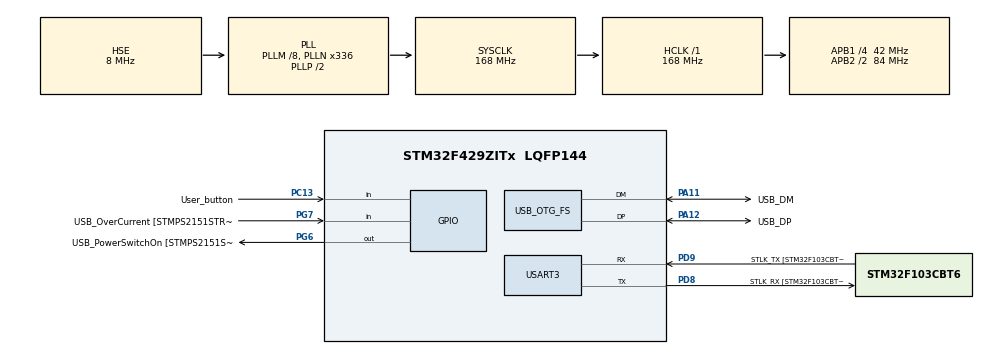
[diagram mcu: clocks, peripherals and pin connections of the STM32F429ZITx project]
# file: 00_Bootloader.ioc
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Mcu.Family=STM32F4
Mcu.Name=STM32F429ZITx
Mcu.Package=LQFP144
NVIC.OTG_FS_IRQn=true\:0\:0\:false\:false\:true\:false\:true
NVIC.PriorityGroup=NVIC_PRIORITYGROUP_4
NVIC.TIM2_IRQn=true\:0\:0\:false\:false\:true\:true\:true
PA10.GPIO_Label=USB_ID
PA10.Signal=USB_OTG_FS_ID
PA11.GPIO_Label=USB_DM
PA11.Mode=Host_Only
PA11.Signal=USB_OTG_FS_DM
PA12.GPIO_Label=USB_DP
PA12.Mode=Host_Only
PA12.Signal=USB_OTG_FS_DP
PA13.GPIO_Label=TMS
PA13.Mode=Serial_Wire
PA13.Signal=SYS_JTMS-SWDIO
PA14.GPIO_Label=TCK
PA14.Mode=Serial_Wire
PA14.Signal=SYS_JTCK-SWCLK
PA8.GPIO_Label=USB_SOF [TP1]
PA8.Signal=USB_OTG_FS_SOF
PA9.GPIO_Label=USB_VBUS
PA9.Signal=USB_OTG_FS_VBUS
PC13.GPIO_Label=User_button
PC13.Signal=GPIO_Input
PC14/OSC32_IN.Mode=LSE-External-Oscillator
PC14/OSC32_IN.Signal=RCC_OSC32_IN
PC15/OSC32_OUT.Mode=LSE-External-Oscillator
PC15/OSC32_OUT.Signal=RCC_OSC32_OUT
PD8.GPIO_Label=STLK_RX [STM32F103CBT6_PA3]
PD8.Mode=Asynchronous
PD8.Signal=USART3_TX
PD9.GPIO_Label=STLK_TX [STM32F103CBT6_PA2]
PD9.Mode=Asynchronous
PD9.Signal=USART3_RX
PG6.GPIO_Label=USB_PowerSwitchOn [STMPS2151STR_EN]
PG6.Signal=GPIO_Output
PG7.GPIO_Label=USB_OverCurrent [STMPS2151STR_FAULT]
PG7.Signal=GPIO_Input
PH0/OSC_IN.GPIO_Label=MCO [STM32F103CBT6_PA8]
PH0/OSC_IN.Mode=HSE-External-Clock-Source
PH0/OSC_IN.Signal=RCC_OSC_IN
PH1/OSC_OUT.Mode=HSE-External-Clock-Source
PH1/OSC_OUT.Signal=RCC_OSC_OUT
ProjectManager.HeapSize=0x2000
ProjectManager.StackSize=0x2000
ProjectManager.TargetToolchain=STM32CubeIDE
RCC.48MHZClocksFreq_Value=48000000
RCC.AHBFreq_Value=168000000
RCC.APB1CLKDivider=RCC_HCLK_DIV4
RCC.APB1Freq_Value=42000000
RCC.APB1TimFreq_Value=84000000
RCC.APB2CLKDivider=RCC_HCLK_DIV2
RCC.APB2Freq_Value=84000000
RCC.APB2TimFreq_Value=168000000
RCC.CortexFreq_Value=168000000
RCC.HCLKFreq_Value=168000000
RCC.HSE_VALUE=8000000
RCC.HSI_VALUE=16000000
RCC.PLLI2SN=271
RCC.PLLI2SR=6
RCC.PLLM=8
RCC.PLLMUL=RCC_PLL_MUL9
RCC.PLLN=336
RCC.PLLQ=7
RCC.PRESCALERUSB=RCC_USBCLKSOURCE_PLL_DIV1_5
RCC.SYSCLKFreq_VALUE=168000000
RCC.SYSCLKSource=RCC_SYSCLKSOURCE_PLLCLK
RCC.SYSCLKSourceVirtual=RCC_SYSCLKSOURCE_PLLCLK
RCC.USBFreq_Value=48000000
RCC.VCOOutputFreq_Value=336000000
TIM2.Period=20-1
TIM2.Prescaler=84-1
TIM2.TIM_MasterOutputTrigger=TIM_TRGO_UPDATE
USART3.VirtualMode=VM_ASYNC
USB_HOST.USBH_HandleTypeDef-MSC_FS=hUsbHostFS
USB_HOST.VirtualModeFS=Msc
USB_OTG_FS.VirtualMode=Host_Only
USB_OTG_FS.phy_itface=HCD_PHY_EMBEDDED
VP_FATFS_VS_USB.Mode=USB
VP_TIM2_VS_ClockSourceINT.Mode=Internal
VP_USB_HOST_VS_USB_HOST_MSC_FS.Mode=MSC_FS
board=NUCLEO-F429ZI

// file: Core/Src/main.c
/* USER CODE BEGIN Header */
/**
  ******************************************************************************
  * @file           : main.c
  * @brief          : Main program body
  ******************************************************************************
  * @attention
  *
  * <h2><center>&copy; Copyright (c) 2020 STMicroelectronics.
  * All rights reserved.</center></h2>
  *
  * This software component is licensed by ST under Ultimate Liberty license
  * SLA0044, the "License"; You may not use this file except in compliance with
  * the License. You may obtain a copy of the License at:
  *                             www.st.com/SLA0044
  *
  ******************************************************************************
  */
/* USER CODE END Header */

#include "main.h"
#include "fatfs.h"
#include "usb_host.h"

/* USER CODE BEGIN Includes */
//#include <FLASH_SECTOR.h_bak>		//For Sector flash
//#include "FLASH_PAGE.h"			//For page flash

#define APPLICATION_ADDRESS			0x08010000						// Main application start address
#define APPLICATION_END_ADDRESS		0x081FFFFF-1					// Main application end address
#define USBMountDelayCounter		254		/*65534*/
#define USB_DEV_power_on(USB_power_on_port, USB_power_on_pin)		HAL_GPIO_WritePin(USB_power_on_port, USB_power_on_pin, GPIO_PIN_SET)
#define USB_DEV_power_off(USB_power_on_port, USB_power_on_pin)		HAL_GPIO_WritePin(USB_power_on_port, USB_power_on_pin, GPIO_PIN_RESET)

#include "SileliS_printf.h"
/* USER CODE END Includes */

TIM_HandleTypeDef htim2;

UART_HandleTypeDef huart3;

void SystemClock_Config(void);
static void MX_GPIO_Init(void);
static void MX_USART3_UART_Init(void);
static void MX_TIM2_Init(void);
void MX_USB_HOST_Process(void);

/* USER CODE BEGIN PFP */
static uint32_t FlashGetSector(uint32_t Address);
static uint32_t FlashEraseData(uint32_t StartSectorAddress, uint32_t EndSectorAddress);
/* USER CODE END PFP */

/* USER CODE BEGIN 0 */

typedef void (*pFunction)(void);
/* USER CODE END 0 */

int main(void)
{

  /* MCU Configuration--------------------------------------------------------*/

  /* Reset of all peripherals, Initializes the Flash interface and the Systick. */
  HAL_Init();

  /* Configure the system clock */
  SystemClock_Config();

  /* Initialize all configured peripherals */
  MX_GPIO_Init();
  MX_USART3_UART_Init();
  MX_TIM2_Init();
  MX_FATFS_Init();
  MX_USB_HOST_Init();
  /* USER CODE BEGIN 2 */

  printf_init(&huart3);
  printf("Bootloader v0.90\r\n");
  HAL_Delay(1500);	//Delay for power on button long press detection //TODO: powinno byc 3 sekundy
  //TODO: załączenie pinu podtrzymującego EN zasilania

  /* USER CODE END 2 */

  /* Infinite loop */
  /* USER CODE BEGIN WHILE */

  /* FIRMWARE UPDATE CODE */
  if (HAL_GPIO_ReadPin(User_button_GPIO_Port, User_button_Pin))		//Enter flashing: Should be user own condition. //TODO: remember to change hardware configuration for final design
  {
	  USB_DEV_power_on(GPIOG, GPIO_PIN_6);
	  HAL_Delay(150);

		extern char USBHPath[4]; /* USBH logical drive path */
		extern FATFS USBHFatFS; /* File system object for USBH logical drive */
		extern ApplicationTypeDef Appli_state;

		uint8_t USBConnectionCounter = 0;

		do {
			MX_USB_HOST_Process();
			switch (Appli_state){
			case   APPLICATION_READY:

				/* Is USB mounted */
				if (f_mount(&USBHFatFS, (const TCHAR*) USBHPath, 0)== FR_OK)
				{

					/* Check if firmware file is avaliable*/
					FIL fp;
					if (f_open(&fp, "firmware.bin", FA_READ|FA_OPEN_EXISTING) == FR_OK) {

						printf("Firmware update\r\n");
						uint32_t toFlash;
						UINT brCounetr=0;
						__IO uint32_t binFileAddress = 0;

						/*Unlock flash, erase sectors, write new firmware*/
						HAL_FLASH_Unlock();
						if (FlashEraseData(APPLICATION_ADDRESS, APPLICATION_END_ADDRESS)==0);
						{
							do
							{
								toFlash=0xffffffff;
								f_read(&fp, (uint32_t*) &toFlash, sizeof(uint32_t), &brCounetr);

								/*chech if file had been read if "yes" write firmware*/
								if (brCounetr!=0)
								{
									uint8_t* toFlashBigEndian;
									toFlashBigEndian = &toFlash;
									printf("Flash:0x%.8x bin:0x%.8x 0x%.2x%.2x%.2x%.2x\r\n", APPLICATION_ADDRESS+binFileAddress, binFileAddress, *(toFlashBigEndian), *(toFlashBigEndian+1), *(toFlashBigEndian+2), *(toFlashBigEndian+3));
									HAL_FLASH_Program(FLASH_TYPEPROGRAM_WORD, APPLICATION_ADDRESS+binFileAddress, *&toFlash);
									binFileAddress+=sizeof(toFlash);
								}

								/* if file had not been read*/
								else
								{
									/* Check if USB stick is plugged */
									HAL_Delay(250);
									MX_USB_HOST_Process();

									/* USB stick is pluged. Firmware file end reached. */
									if (Appli_state==APPLICATION_READY)	//jeśli koniec odczytu nie nastąpił w skutek usterki / wyjęcia nośnika USB
									{
										//TODO: SPRAWDZANIE POPRAWNOŚCI WGRANIA FLASHA

										/*close file, unmount partition*/
										f_close(&fp);
										f_mount(0, (const TCHAR*) USBHPath/*""*/, 0);
										USBConnectionCounter = USBMountDelayCounter;	//To went out of loop which check if USB stick is plugged
										printf("EOF\r\n");
									}

									/* USB stick not plugged */
									else
									{
										/*close file, unmount partition, notify user about error, erase partition, lock flash, emergency mcu restart*/
										f_close(&fp);
										f_mount(0, (const TCHAR*) USBHPath, 0); //Na sam koniec bootloader powinien odmontować napęd USB
										HAL_UART_Transmit(&huart3, "FATAL ERROR.No USB.", 19, HAL_MAX_DELAY);	//printf("FATAL ERROR.No USB.");	// UART_Transmit is better because NVIC wait for UART_Transmit to be executed
										FlashEraseData(APPLICATION_ADDRESS, APPLICATION_END_ADDRESS);
										HAL_FLASH_Unlock();

										//TODO: Jeśli nie będzie działać poprawnie to zrobić power off poprzez wyłaczenie pinu EN podtrzymującego zasilacz oraz power off zasilania USB
										//TODO: Jakiś komunikat na HMI
										NVIC_SystemReset();
									}
									break;
								}
							}while(1);
						}
						HAL_FLASH_Lock();
					}

					/* If USB had not been mounted */
					else
					{
						printf("No firmware on USB.\r\n Check firmware filename: \"firmware.bin\"\r\n");
						HAL_Delay(1500);
					}
					break;
				}
            /* delay loop which gives time to user to plug USB stick */
			default:
				USBConnectionCounter++;
				HAL_Delay(10);
				if (USBConnectionCounter == USBMountDelayCounter)
					printf("No USB.\r\n");
			}
		} while (USBConnectionCounter < USBMountDelayCounter);

		HAL_FLASH_Lock();
		f_mount(0, (const TCHAR*) USBHPath, 0);
		USB_DEV_power_off(GPIOG, GPIO_PIN_6);
		HAL_Delay(150);
	}
  /* FIRMWARE UPDATE CODE */

  /* BOOTING MAIN APPLICATION*/

  	/*Check if main application area is blank.
  	 * if YES	*/
	if ((*(__IO uint32_t *)APPLICATION_ADDRESS==0xFFFFFFFF)&&(*(__IO uint32_t *)(APPLICATION_ADDRESS+1)==0xFFFFFFFF))
	{

		HAL_UART_Transmit(&huart3, "Main application area is blank\r\n", 32, HAL_MAX_DELAY);	//printf("Main application area is blank"); // UART_Transmit is better because NVIC wait for UART_Transmit to be executed
		//TODO:  komunikat o czystym obszarze flashana HMI

		//TODO: TUTAJ B�?DZIE LEPIEJ WYLĄCZYĆ PODTRZYMANIE EN ZASILANIA
		//TODO: Jakiś komunikat na HMI
		NVIC_SystemReset();
	}

	/*If main application area is flashed */
	else
	{
	 	printf("Start MainApp at:0x%.8x\r\n", APPLICATION_ADDRESS);
		pFunction appEntry;
		uint32_t appStack;

		//TODO: Wyłączenie wszystkich niepotrzebnych peryferiow

		/* Get the application stack pointer (First entry in the application vector table) */
		appStack = (uint32_t) *((__IO uint32_t*)APPLICATION_ADDRESS);

		/* Get the application entry point (Second entry in the application vector table) */
		appEntry = (pFunction) *(__IO uint32_t*) (APPLICATION_ADDRESS + 4);

		/* Reconfigure vector table offset register to match the application location */
		SCB->VTOR = APPLICATION_ADDRESS;

		/* Set the application stack pointer */
		__set_MSP(appStack);

		/* Start the application */
		appEntry();
	}
	/* BOOTLOADER END*/

  while (1);
 // {
    /* USER CODE END WHILE */
//    MX_USB_HOST_Process();

    /* USER CODE BEGIN 3 */
 // };
  /* USER CODE END 3 */
}

void SystemClock_Config(void)
{
  RCC_OscInitTypeDef RCC_OscInitStruct = {0};
  RCC_ClkInitTypeDef RCC_ClkInitStruct = {0};

  /** Configure the main internal regulator output voltage
  */
  __HAL_RCC_PWR_CLK_ENABLE();
  __HAL_PWR_VOLTAGESCALING_CONFIG(PWR_REGULATOR_VOLTAGE_SCALE1);
  /** Initializes the RCC Oscillators according to the specified parameters
  * in the RCC_OscInitTypeDef structure.
  */
  RCC_OscInitStruct.OscillatorType = RCC_OSCILLATORTYPE_HSE;
  RCC_OscInitStruct.HSEState = RCC_HSE_BYPASS;
  RCC_OscInitStruct.PLL.PLLState = RCC_PLL_ON;
  RCC_OscInitStruct.PLL.PLLSource = RCC_PLLSOURCE_HSE;
  RCC_OscInitStruct.PLL.PLLM = 8;
  RCC_OscInitStruct.PLL.PLLN = 336;
  RCC_OscInitStruct.PLL.PLLP = RCC_PLLP_DIV2;
  RCC_OscInitStruct.PLL.PLLQ = 7;
  if (HAL_RCC_OscConfig(&RCC_OscInitStruct) != HAL_OK)
  {
    Error_Handler();
  }
  /** Initializes the CPU, AHB and APB buses clocks
  */
  RCC_ClkInitStruct.ClockType = RCC_CLOCKTYPE_HCLK|RCC_CLOCKTYPE_SYSCLK
                              |RCC_CLOCKTYPE_PCLK1|RCC_CLOCKTYPE_PCLK2;
  RCC_ClkInitStruct.SYSCLKSource = RCC_SYSCLKSOURCE_PLLCLK;
  RCC_ClkInitStruct.AHBCLKDivider = RCC_SYSCLK_DIV1;
  RCC_ClkInitStruct.APB1CLKDivider = RCC_HCLK_DIV4;
  RCC_ClkInitStruct.APB2CLKDivider = RCC_HCLK_DIV2;

  if (HAL_RCC_ClockConfig(&RCC_ClkInitStruct, FLASH_LATENCY_5) != HAL_OK)
  {
    Error_Handler();
  }
}

static void MX_TIM2_Init(void)
{

  TIM_ClockConfigTypeDef sClockSourceConfig = {0};
  TIM_MasterConfigTypeDef sMasterConfig = {0};

  htim2.Instance = TIM2;
  htim2.Init.Prescaler = 84-1;
  htim2.Init.CounterMode = TIM_COUNTERMODE_UP;
  htim2.Init.Period = 20-1;
  htim2.Init.ClockDivision = TIM_CLOCKDIVISION_DIV1;
  htim2.Init.AutoReloadPreload = TIM_AUTORELOAD_PRELOAD_DISABLE;
  if (HAL_TIM_Base_Init(&htim2) != HAL_OK)
  {
    Error_Handler();
  }
  sClockSourceConfig.ClockSource = TIM_CLOCKSOURCE_INTERNAL;
  if (HAL_TIM_ConfigClockSource(&htim2, &sClockSourceConfig) != HAL_OK)
  {
    Error_Handler();
  }
  sMasterConfig.MasterOutputTrigger = TIM_TRGO_UPDATE;
  sMasterConfig.MasterSlaveMode = TIM_MASTERSLAVEMODE_DISABLE;
  if (HAL_TIMEx_MasterConfigSynchronization(&htim2, &sMasterConfig) != HAL_OK)
  {
    Error_Handler();
  }

}

static void MX_USART3_UART_Init(void)
{

  huart3.Instance = USART3;
  huart3.Init.BaudRate = 115200;
  huart3.Init.WordLength = UART_WORDLENGTH_8B;
  huart3.Init.StopBits = UART_STOPBITS_1;
  huart3.Init.Parity = UART_PARITY_NONE;
  huart3.Init.Mode = UART_MODE_TX_RX;
  huart3.Init.HwFlowCtl = UART_HWCONTROL_NONE;
  huart3.Init.OverSampling = UART_OVERSAMPLING_16;
  if (HAL_UART_Init(&huart3) != HAL_OK)
  {
    Error_Handler();
  }

}

static void MX_GPIO_Init(void)
{
  GPIO_InitTypeDef GPIO_InitStruct = {0};

  /* GPIO Ports Clock Enable */
  __HAL_RCC_GPIOE_CLK_ENABLE();
  __HAL_RCC_GPIOC_CLK_ENABLE();
  __HAL_RCC_GPIOF_CLK_ENABLE();
  __HAL_RCC_GPIOH_CLK_ENABLE();
  __HAL_RCC_GPIOA_CLK_ENABLE();
  __HAL_RCC_GPIOB_CLK_ENABLE();
  __HAL_RCC_GPIOG_CLK_ENABLE();
  __HAL_RCC_GPIOD_CLK_ENABLE();

  /*Configure GPIO pin Output Level */
  HAL_GPIO_WritePin(USB_PowerSwitchOn_GPIO_Port, USB_PowerSwitchOn_Pin, GPIO_PIN_RESET);

  /*Configure GPIO pins : PE2 PE3 PE4 PE5
                           PE6 PE7 PE8 PE9
                           PE10 PE11 PE12 PE13
                           PE14 PE15 PE0 PE1 */
  GPIO_InitStruct.Pin = GPIO_PIN_2|GPIO_PIN_3|GPIO_PIN_4|GPIO_PIN_5
                          |GPIO_PIN_6|GPIO_PIN_7|GPIO_PIN_8|GPIO_PIN_9
                          |GPIO_PIN_10|GPIO_PIN_11|GPIO_PIN_12|GPIO_PIN_13
                          |GPIO_PIN_14|GPIO_PIN_15|GPIO_PIN_0|GPIO_PIN_1;
  GPIO_InitStruct.Mode = GPIO_MODE_ANALOG;
  GPIO_InitStruct.Pull = GPIO_NOPULL;
  HAL_GPIO_Init(GPIOE, &GPIO_InitStruct);

  /*Configure GPIO pin : User_button_Pin */
  GPIO_InitStruct.Pin = User_button_Pin;
  GPIO_InitStruct.Mode = GPIO_MODE_INPUT;
  GPIO_InitStruct.Pull = GPIO_NOPULL;
  HAL_GPIO_Init(User_button_GPIO_Port, &GPIO_InitStruct);

  /*Configure GPIO pins : PF0 PF1 PF2 PF3
                           PF4 PF5 PF6 PF7
                           PF8 PF9 PF10 PF11
                           PF12 PF13 PF14 PF15 */
  GPIO_InitStruct.Pin = GPIO_PIN_0|GPIO_PIN_1|GPIO_PIN_2|GPIO_PIN_3
                          |GPIO_PIN_4|GPIO_PIN_5|GPIO_PIN_6|GPIO_PIN_7
                          |GPIO_PIN_8|GPIO_PIN_9|GPIO_PIN_10|GPIO_PIN_11
                          |GPIO_PIN_12|GPIO_PIN_13|GPIO_PIN_14|GPIO_PIN_15;
  GPIO_InitStruct.Mode = GPIO_MODE_ANALOG;
  GPIO_InitStruct.Pull = GPIO_NOPULL;
  HAL_GPIO_Init(GPIOF, &GPIO_InitStruct);

  /*Configure GPIO pins : PC0 PC1 PC2 PC3
                           PC4 PC5 PC6 PC7
                           PC8 PC9 PC10 PC11
                           PC12 */
  GPIO_InitStruct.Pin = GPIO_PIN_0|GPIO_PIN_1|GPIO_PIN_2|GPIO_PIN_3
                          |GPIO_PIN_4|GPIO_PIN_5|GPIO_PIN_6|GPIO_PIN_7
                          |GPIO_PIN_8|GPIO_PIN_9|GPIO_PIN_10|GPIO_PIN_11
                          |GPIO_PIN_12;
  GPIO_InitStruct.Mode = GPIO_MODE_ANALOG;
  GPIO_InitStruct.Pull = GPIO_NOPULL;
  HAL_GPIO_Init(GPIOC, &GPIO_InitStruct);

  /*Configure GPIO pins : PA0 PA1 PA2 PA3
                           PA4 PA5 PA6 PA7
                           PA15 */
  GPIO_InitStruct.Pin = GPIO_PIN_0|GPIO_PIN_1|GPIO_PIN_2|GPIO_PIN_3
                          |GPIO_PIN_4|GPIO_PIN_5|GPIO_PIN_6|GPIO_PIN_7
                          |GPIO_PIN_15;
  GPIO_InitStruct.Mode = GPIO_MODE_ANALOG;
  GPIO_InitStruct.Pull = GPIO_NOPULL;
  HAL_GPIO_Init(GPIOA, &GPIO_InitStruct);

  /*Configure GPIO pins : PB0 PB1 PB2 PB10
                           PB11 PB12 PB13 PB14
                           PB15 PB3 PB4 PB5
                           PB6 PB7 PB8 PB9 */
  GPIO_InitStruct.Pin = GPIO_PIN_0|GPIO_PIN_1|GPIO_PIN_2|GPIO_PIN_10
                          |GPIO_PIN_11|GPIO_PIN_12|GPIO_PIN_13|GPIO_PIN_14
                          |GPIO_PIN_15|GPIO_PIN_3|GPIO_PIN_4|GPIO_PIN_5
                          |GPIO_PIN_6|GPIO_PIN_7|GPIO_PIN_8|GPIO_PIN_9;
  GPIO_InitStruct.Mode = GPIO_MODE_ANALOG;
  GPIO_InitStruct.Pull = GPIO_NOPULL;
  HAL_GPIO_Init(GPIOB, &GPIO_InitStruct);

  /*Configure GPIO pins : PG0 PG1 PG2 PG3
                           PG4 PG5 PG8 PG9
                           PG10 PG11 PG12 PG13
                           PG14 PG15 */
  GPIO_InitStruct.Pin = GPIO_PIN_0|GPIO_PIN_1|GPIO_PIN_2|GPIO_PIN_3
                          |GPIO_PIN_4|GPIO_PIN_5|GPIO_PIN_8|GPIO_PIN_9
                          |GPIO_PIN_10|GPIO_PIN_11|GPIO_PIN_12|GPIO_PIN_13
                          |GPIO_PIN_14|GPIO_PIN_15;
  GPIO_InitStruct.Mode = GPIO_MODE_ANALOG;
  GPIO_InitStruct.Pull = GPIO_NOPULL;
  HAL_GPIO_Init(GPIOG, &GPIO_InitStruct);

  /*Configure GPIO pins : PD10 PD11 PD12 PD13
                           PD14 PD15 PD0 PD1
                           PD2 PD3 PD4 PD5
                           PD6 PD7 */
  GPIO_InitStruct.Pin = GPIO_PIN_10|GPIO_PIN_11|GPIO_PIN_12|GPIO_PIN_13
                          |GPIO_PIN_14|GPIO_PIN_15|GPIO_PIN_0|GPIO_PIN_1
                          |GPIO_PIN_2|GPIO_PIN_3|GPIO_PIN_4|GPIO_PIN_5
                          |GPIO_PIN_6|GPIO_PIN_7;
  GPIO_InitStruct.Mode = GPIO_MODE_ANALOG;
  GPIO_InitStruct.Pull = GPIO_NOPULL;
  HAL_GPIO_Init(GPIOD, &GPIO_InitStruct);

  /*Configure GPIO pin : USB_PowerSwitchOn_Pin */
  GPIO_InitStruct.Pin = USB_PowerSwitchOn_Pin;
  GPIO_InitStruct.Mode = GPIO_MODE_OUTPUT_PP;
  GPIO_InitStruct.Pull = GPIO_NOPULL;
  GPIO_InitStruct.Speed = GPIO_SPEED_FREQ_LOW;
  HAL_GPIO_Init(USB_PowerSwitchOn_GPIO_Port, &GPIO_InitStruct);

  /*Configure GPIO pin : USB_OverCurrent_Pin */
  GPIO_InitStruct.Pin = USB_OverCurrent_Pin;
  GPIO_InitStruct.Mode = GPIO_MODE_INPUT;
  GPIO_InitStruct.Pull = GPIO_NOPULL;
  HAL_GPIO_Init(USB_OverCurrent_GPIO_Port, &GPIO_InitStruct);

}

/* USER CODE BEGIN 4 */
static uint32_t FlashGetSector(uint32_t Address)
{
  uint32_t sector = 0;

  if((Address < 0x08003FFF) && (Address >= 0x08000000))
  {
    sector = FLASH_SECTOR_0;
  }
  else if((Address < 0x08007FFF) && (Address >= 0x08004000))
  {
    sector = FLASH_SECTOR_1;
  }
  else if((Address < 0x0800BFFF) && (Address >= 0x08008000))
  {
    sector = FLASH_SECTOR_2;
  }
  else if((Address < 0x0800FFFF) && (Address >= 0x0800C000))
  {
    sector = FLASH_SECTOR_3;
  }
  else if((Address < 0x0801FFFF) && (Address >= 0x08010000))
  {
    sector = FLASH_SECTOR_4;
  }
  else if((Address < 0x0803FFFF) && (Address >= 0x08020000))
  {
    sector = FLASH_SECTOR_5;
  }
  else if((Address < 0x0805FFFF) && (Address >= 0x08040000))
  {
    sector = FLASH_SECTOR_6;
  }
  else if((Address < 0x0807FFFF) && (Address >= 0x08060000))
  {
    sector = FLASH_SECTOR_7;
  }
  else if((Address < 0x0809FFFF) && (Address >= 0x08080000))
  {
    sector = FLASH_SECTOR_8;
  }
  else if((Address < 0x080BFFFF) && (Address >= 0x080A0000))
  {
    sector = FLASH_SECTOR_9;
  }
  else if((Address < 0x080DFFFF) && (Address >= 0x080C0000))
  {
    sector = FLASH_SECTOR_10;
  }
  else if((Address < 0x080FFFFF) && (Address >= 0x080E0000))
  {
    sector = FLASH_SECTOR_11;
  }
  else if((Address < 0x08103FFF) && (Address >= 0x08100000))
  {
    sector = FLASH_SECTOR_12;
  }
  else if((Address < 0x08107FFF) && (Address >= 0x08104000))
  {
    sector = FLASH_SECTOR_13;
  }
  else if((Address < 0x0810BFFF) && (Address >= 0x08108000))
  {
    sector = FLASH_SECTOR_14;
  }
  else if((Address < 0x0810FFFF) && (Address >= 0x0810C000))
  {
    sector = FLASH_SECTOR_15;
  }
  else if((Address < 0x0811FFFF) && (Address >= 0x08110000))
  {
    sector = FLASH_SECTOR_16;
  }
  else if((Address < 0x0813FFFF) && (Address >= 0x08120000))
  {
    sector = FLASH_SECTOR_17;
  }
  else if((Address < 0x0815FFFF) && (Address >= 0x08140000))
  {
    sector = FLASH_SECTOR_18;
  }
  else if((Address < 0x0817FFFF) && (Address >= 0x08160000))
  {
    sector = FLASH_SECTOR_19;
  }
  else if((Address < 0x0819FFFF) && (Address >= 0x08180000))
  {
    sector = FLASH_SECTOR_20;
  }
  else if((Address < 0x081BFFFF) && (Address >= 0x081A0000))
  {
    sector = FLASH_SECTOR_21;
  }
  else if((Address < 0x081DFFFF) && (Address >= 0x081C0000))
  {
    sector = FLASH_SECTOR_22;
  }
  else if ((Address < 0x081FFFFF) && (Address >= 0x081E0000))
  {
    sector = FLASH_SECTOR_23;
  }
  return sector;
}

static uint32_t FlashEraseData(uint32_t StartSectorAddress, uint32_t EndSectorAddress)
{
	static FLASH_EraseInitTypeDef EraseInitStruct;
	uint32_t SECTORError=0;

	/* Get the number of sector to erase from 1st sector */
	  uint32_t StartSector = FlashGetSector(StartSectorAddress);
	  //uint32_t EndSectorAddress = StartSectorAddress + numberofwords*4;
	  uint32_t EndSector = FlashGetSector(EndSectorAddress);

	  /* Fill EraseInit structure*/
	  EraseInitStruct.TypeErase     = FLASH_TYPEERASE_SECTORS;
	  EraseInitStruct.VoltageRange  = FLASH_VOLTAGE_RANGE_3;
	  EraseInitStruct.Sector        = StartSector;
	  EraseInitStruct.NbSectors     = (EndSector - StartSector) + 1;

	  printf("Erasing flash\r\n");
	  HAL_FLASHEx_Erase(&EraseInitStruct, &SECTORError);
	  printf("Flash erased\r\n");
	  return HAL_FLASH_GetError ();
}
/* USER CODE END 4 */

void Error_Handler(void)
{
}

/************************ (C) COPYRIGHT STMicroelectronics *****END OF FILE****/
